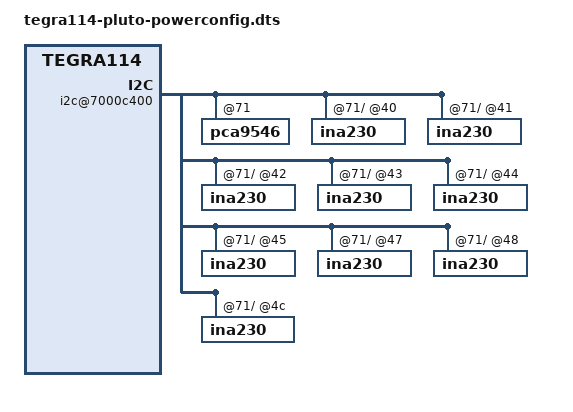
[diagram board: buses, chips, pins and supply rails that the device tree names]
#include "tegra114-pluto.dts"

/ {
	i2c@7000c400 {
		pca9546@71 {
			pca9546_i2c1: i2c@1 {
				ina230@40{
					ti,calibration-data = <0x0426>;
					ti,power-lsb = <1205>;
				};

				ina230@41{
					ti,calibration-data = <0x2134>;
					ti,power-lsb = <301>;
				};

				ina230@42{
					ti,calibration-data = <0x2134>;
					ti,power-lsb = <301>;
				};

				ina230@43{
					ti,calibration-data = <0x3756>;
					ti,power-lsb = <180>;
				};

				ina230@44{
					ti,calibration-data = <0x084D>;
					ti,power-lsb = <120>;
				};

				ina230@45{
					ti,calibration-data = <0x14C0>;
					ti,power-lsb = <240>;
				};

				ina230@47{
					ti,calibration-data = <0x18E7>;
					ti,power-lsb = <40>;
				};

				ina230@48{
					ti,calibration-data = <0x0EAD>;
					ti,power-lsb = <68>;
				};

				ina230@4c{
					ti,calibration-data = <0x1E95>;
					ti,power-lsb = <81>;
				};
			};
		};
	};
};
